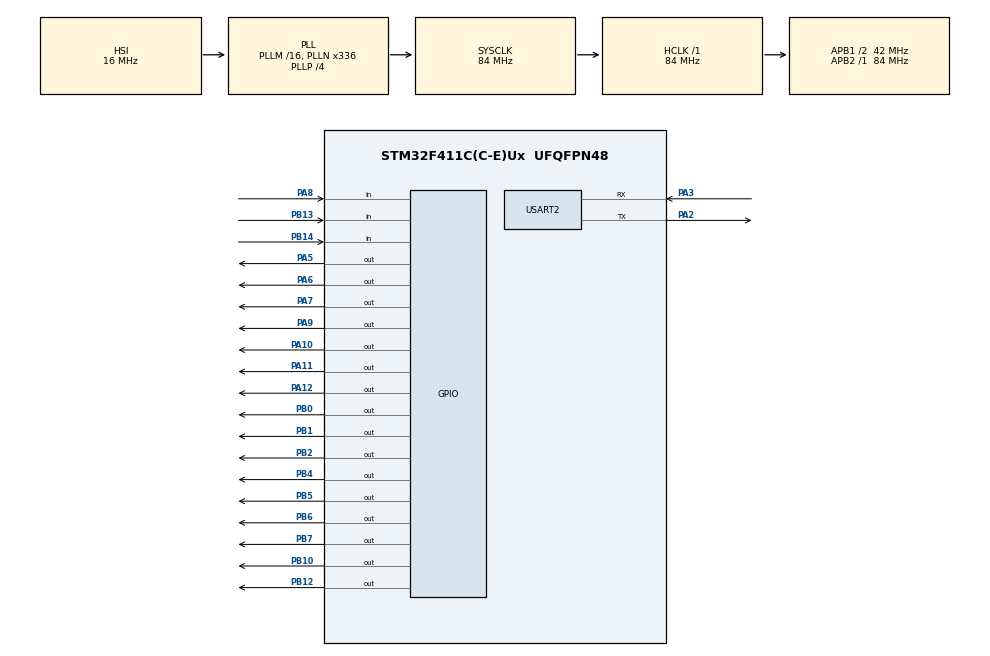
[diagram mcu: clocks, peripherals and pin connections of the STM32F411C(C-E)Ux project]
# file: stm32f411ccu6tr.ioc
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Mcu.Family=STM32F4
Mcu.Name=STM32F411C(C-E)Ux
Mcu.Package=UFQFPN48
NVIC.PriorityGroup=NVIC_PRIORITYGROUP_4
PA10.PinState=GPIO_PIN_RESET
PA10.Signal=GPIO_Output
PA11.PinState=GPIO_PIN_RESET
PA11.Signal=GPIO_Output
PA12.PinState=GPIO_PIN_RESET
PA12.Signal=GPIO_Output
PA13.Mode=Serial_Wire
PA13.Signal=SYS_JTMS-SWDIO
PA14.Mode=Serial_Wire
PA14.Signal=SYS_JTCK-SWCLK
PA2.Mode=Asynchronous
PA2.Signal=USART2_TX
PA3.Mode=Asynchronous
PA3.Signal=USART2_RX
PA5.PinState=GPIO_PIN_RESET
PA5.Signal=GPIO_Output
PA6.PinState=GPIO_PIN_RESET
PA6.Signal=GPIO_Output
PA7.PinState=GPIO_PIN_RESET
PA7.Signal=GPIO_Output
PA8.GPIO_Mode=GPIO_MODE_INPUT
PA8.Signal=GPIO_Input
PA9.GPIO_Speed=GPIO_SPEED_FREQ_LOW
PA9.PinState=GPIO_PIN_RESET
PA9.Signal=GPIO_Output
PB0.PinState=GPIO_PIN_RESET
PB0.Signal=GPIO_Output
PB1.PinState=GPIO_PIN_RESET
PB1.Signal=GPIO_Output
PB10.PinState=GPIO_PIN_RESET
PB10.Signal=GPIO_Output
PB12.PinState=GPIO_PIN_RESET
PB12.Signal=GPIO_Output
PB13.GPIO_Mode=GPIO_MODE_INPUT
PB13.Signal=GPIO_Input
PB14.GPIO_Mode=GPIO_MODE_INPUT
PB14.Signal=GPIO_Input
PB2.PinState=GPIO_PIN_RESET
PB2.Signal=GPIO_Output
PB3.Signal=SYS_JTDO-SWO
PB4.PinState=GPIO_PIN_RESET
PB4.Signal=GPIO_Output
PB5.PinState=GPIO_PIN_RESET
PB5.Signal=GPIO_Output
PB6.PinState=GPIO_PIN_RESET
PB6.Signal=GPIO_Output
PB7.PinState=GPIO_PIN_RESET
PB7.Signal=GPIO_Output
PC14-OSC32_IN.Mode=LSE-External-Oscillator
PC14-OSC32_IN.Signal=RCC_OSC32_IN
PC15-OSC32_OUT.Mode=LSE-External-Oscillator
PC15-OSC32_OUT.Signal=RCC_OSC32_OUT
ProjectManager.HeapSize=0x200
ProjectManager.StackSize=0x400
ProjectManager.TargetToolchain=STM32CubeIDE
RCC.48MHZClocksFreq_Value=84000000
RCC.AHBFreq_Value=84000000
RCC.APB1CLKDivider=RCC_HCLK_DIV2
RCC.APB1Freq_Value=42000000
RCC.APB1TimFreq_Value=84000000
RCC.APB2Freq_Value=84000000
RCC.APB2TimFreq_Value=84000000
RCC.CortexFreq_Value=84000000
RCC.HCLKFreq_Value=84000000
RCC.HSE_VALUE=25000000
RCC.HSI_VALUE=16000000
RCC.PLLN=336
RCC.PLLP=RCC_PLLP_DIV4
RCC.RCC_RTC_Clock_Source=RCC_RTCCLKSOURCE_LSE
RCC.RCC_RTC_Clock_SourceVirtual=RCC_RTCCLKSOURCE_LSE
RCC.SYSCLKFreq_VALUE=84000000
RCC.SYSCLKSource=RCC_SYSCLKSOURCE_PLLCLK
RCC.VCOOutputFreq_Value=336000000
RTC.Format=RTC_FORMAT_BIN
RTC.Hours=11
RTC.Minutes=30
USART2.VirtualMode=VM_ASYNC
VP_RTC_VS_RTC_Activate.Mode=RTC_Enabled
VP_RTC_VS_RTC_Calendar.Mode=RTC_Calendar
board=custom

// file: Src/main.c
/* USER CODE BEGIN Header */
/**
  ******************************************************************************
  * @file           : main.c
  * @brief          : Main program body
  ******************************************************************************
  * @attention
  *
  * Copyright (c) 2023 STMicroelectronics.
  * All rights reserved.
  *
  * This software is licensed under terms that can be found in the LICENSE file
  * in the root directory of this software component.
  * If no LICENSE file comes with this software, it is provided AS-IS.
  *
  ******************************************************************************
  */
/* USER CODE END Header */
#include "main.h"

/* USER CODE BEGIN Includes */
#include "nixie.h"
/* USER CODE END Includes */

/* USER CODE BEGIN PD */
#define BUTTON_1_PORT GPIOB
#define BUTTON_1_PIN GPIO_PIN_13
#define BUTTON_2_PORT GPIOB
#define BUTTON_2_PIN GPIO_PIN_14
#define BUTTON_3_PORT GPIOA
#define BUTTON_3_PIN GPIO_PIN_8

/* USER CODE END PD */

RTC_HandleTypeDef hrtc;

UART_HandleTypeDef huart2;

/* USER CODE BEGIN PV */
RTC_TimeTypeDef RtcTime;
RTC_DateTypeDef RtcDate;
int8_t CompareMinutes = -1;
uint8_t CompareHours = 0;

Nixie_Pin pins[4][4] =
        {
                {   //Nixie A-D1
                        {GPIOB, GPIO_PIN_4}, //Schematic A1
                        {GPIOB, GPIO_PIN_5}, //Schematic B1
                        {GPIOB, GPIO_PIN_6}, //Schematic C1
                        {GPIOB, GPIO_PIN_7}  //Schematic D1
                },
                {   //Nixie A-D2
                        {GPIOA, GPIO_PIN_9},  //Schematic A2
                        {GPIOA, GPIO_PIN_10}, //Schematic B2
                        {GPIOA, GPIO_PIN_11}, //Schematic C2
                        {GPIOA, GPIO_PIN_12}  //Schematic D2
                },
                {   //Nixie A-D3
                        {GPIOA, GPIO_PIN_5},  //Schematic A3
                        {GPIOA, GPIO_PIN_6},  //Schematic B3
                        {GPIOA, GPIO_PIN_7},  //Schematic C3
                        {GPIOB, GPIO_PIN_0}   //Schematic D3
                },
                {   //Nixie A-D4
                        {GPIOB, GPIO_PIN_1},  //Schematic A4
                        {GPIOB, GPIO_PIN_2},  //Schematic B4
                        {GPIOB, GPIO_PIN_10}, //Schematic C4
                        {GPIOB, GPIO_PIN_12}  //Schematic D4
                }
        };

Nixie_IC Nixie1 = {
        .ports = pins[0],
        .value = 0
};
Nixie_IC Nixie2 = {
        .ports = pins[1],
        .value = 0
};
Nixie_IC Nixie3 = {
        .ports = pins[2],
        .value = 0
};
Nixie_IC Nixie4 = {
        .ports = pins[3],
        .value = 0
};

Nixie_Clock clock = { .tubes = {&Nixie1, &Nixie2, &Nixie3, &Nixie4} };

/* USER CODE END PV */

void SystemClock_Config(void);
static void MX_GPIO_Init(void);
static void MX_RTC_Init(void);
static void MX_USART2_UART_Init(void);

int main(void)
{

  /* MCU Configuration--------------------------------------------------------*/

  /* Reset of all peripherals, Initializes the Flash interface and the Systick. */
  HAL_Init();

  /* Configure the system clock */
  SystemClock_Config();

  /* Initialize all configured peripherals */
  MX_GPIO_Init();
  MX_RTC_Init();
  MX_USART2_UART_Init();

  /* Infinite loop */
  /* USER CODE BEGIN WHILE */
  while (1)
  {

      HAL_RTC_GetTime(&hrtc, &RtcTime, RTC_FORMAT_BIN);
      HAL_RTC_GetDate(&hrtc, &RtcDate, RTC_FORMAT_BIN); //need to read date for proper timekeeping
      if(CompareMinutes != RtcTime.Minutes)
      {
          CompareMinutes = (int8_t)RtcTime.Minutes;
          setNixieTime(&clock, &RtcTime);
      }
      if(CompareHours != RtcTime.Hours)
      {
          CompareHours = RtcTime.Hours;
          NixieShuffle(&clock);
      }

      if(HAL_GPIO_ReadPin(BUTTON_1_PORT, BUTTON_1_PIN)==GPIO_PIN_RESET){
            HAL_Delay(100);
            if(HAL_GPIO_ReadPin(BUTTON_1_PORT, BUTTON_1_PIN)==GPIO_PIN_RESET){
                RTC_TimeTypeDef adjTime = RtcTime;
                if(adjTime.Minutes==59){
                    adjTime.Minutes = 0;
                    adjTime.Hours = (adjTime.Hours+1)%24;
                }
                else adjTime.Minutes++;

                if (HAL_RTC_SetTime(&hrtc, &adjTime, RTC_FORMAT_BIN) != HAL_OK)
                 {
                      Error_Handler();
                 }

            }
      }

      if(HAL_GPIO_ReadPin(BUTTON_3_PORT, BUTTON_3_PIN)==GPIO_PIN_RESET){
          HAL_Delay(100);
          if(HAL_GPIO_ReadPin(BUTTON_3_PORT, BUTTON_3_PIN)==GPIO_PIN_RESET){
              RTC_TimeTypeDef adjTime = RtcTime;
              if(adjTime.Minutes==0){
                  adjTime.Minutes = 59;
                    adjTime.Hours = adjTime.Hours==0 ? 23 : adjTime.Hours-1;
              }
              else adjTime.Minutes--;

              if (HAL_RTC_SetTime(&hrtc, &adjTime, RTC_FORMAT_BIN) != HAL_OK)
              {
                  Error_Handler();
              }

          }
      }

    /* USER CODE END WHILE */

  }
}

void SystemClock_Config(void)
{
  RCC_OscInitTypeDef RCC_OscInitStruct = {0};
  RCC_ClkInitTypeDef RCC_ClkInitStruct = {0};

  /** Configure the main internal regulator output voltage
  */
  __HAL_RCC_PWR_CLK_ENABLE();
  __HAL_PWR_VOLTAGESCALING_CONFIG(PWR_REGULATOR_VOLTAGE_SCALE1);

  /** Initializes the RCC Oscillators according to the specified parameters
  * in the RCC_OscInitTypeDef structure.
  */
  RCC_OscInitStruct.OscillatorType = RCC_OSCILLATORTYPE_HSI|RCC_OSCILLATORTYPE_LSE;
  RCC_OscInitStruct.LSEState = RCC_LSE_ON;
  RCC_OscInitStruct.HSIState = RCC_HSI_ON;
  RCC_OscInitStruct.HSICalibrationValue = RCC_HSICALIBRATION_DEFAULT;
  RCC_OscInitStruct.PLL.PLLState = RCC_PLL_ON;
  RCC_OscInitStruct.PLL.PLLSource = RCC_PLLSOURCE_HSI;
  RCC_OscInitStruct.PLL.PLLM = 16;
  RCC_OscInitStruct.PLL.PLLN = 336;
  RCC_OscInitStruct.PLL.PLLP = RCC_PLLP_DIV4;
  RCC_OscInitStruct.PLL.PLLQ = 4;
  if (HAL_RCC_OscConfig(&RCC_OscInitStruct) != HAL_OK)
  {
    Error_Handler();
  }

  /** Initializes the CPU, AHB and APB buses clocks
  */
  RCC_ClkInitStruct.ClockType = RCC_CLOCKTYPE_HCLK|RCC_CLOCKTYPE_SYSCLK
                              |RCC_CLOCKTYPE_PCLK1|RCC_CLOCKTYPE_PCLK2;
  RCC_ClkInitStruct.SYSCLKSource = RCC_SYSCLKSOURCE_PLLCLK;
  RCC_ClkInitStruct.AHBCLKDivider = RCC_SYSCLK_DIV1;
  RCC_ClkInitStruct.APB1CLKDivider = RCC_HCLK_DIV2;
  RCC_ClkInitStruct.APB2CLKDivider = RCC_HCLK_DIV1;

  if (HAL_RCC_ClockConfig(&RCC_ClkInitStruct, FLASH_LATENCY_2) != HAL_OK)
  {
    Error_Handler();
  }
}

static void MX_RTC_Init(void)
{

  RTC_TimeTypeDef sTime = {0};
  RTC_DateTypeDef sDate = {0};

  /** Initialize RTC Only
  */
  hrtc.Instance = RTC;
  hrtc.Init.HourFormat = RTC_HOURFORMAT_24;
  hrtc.Init.AsynchPrediv = 127;
  hrtc.Init.SynchPrediv = 255;
  hrtc.Init.OutPut = RTC_OUTPUT_DISABLE;
  hrtc.Init.OutPutPolarity = RTC_OUTPUT_POLARITY_HIGH;
  hrtc.Init.OutPutType = RTC_OUTPUT_TYPE_OPENDRAIN;
  if (HAL_RTC_Init(&hrtc) != HAL_OK)
  {
    Error_Handler();
  }

  /* USER CODE BEGIN Check_RTC_BKUP */

    //HAL_RTC_GetTime(&hrtc, &RtcTime, RTC_FORMAT_BIN);
    //HAL_RTC_GetDate(&hrtc, &RtcDate, RTC_FORMAT_BIN);
    return;
  /* USER CODE END Check_RTC_BKUP */

  /** Initialize RTC and set the Time and Date
  */
  sTime.Hours = 11;
  sTime.Minutes = 30;
  sTime.Seconds = 0;
  sTime.DayLightSaving = RTC_DAYLIGHTSAVING_NONE;
  sTime.StoreOperation = RTC_STOREOPERATION_RESET;
  if (HAL_RTC_SetTime(&hrtc, &sTime, RTC_FORMAT_BIN) != HAL_OK)
  {
    Error_Handler();
  }
  sDate.WeekDay = RTC_WEEKDAY_MONDAY;
  sDate.Month = RTC_MONTH_JANUARY;
  sDate.Date = 1;
  sDate.Year = 0;

  if (HAL_RTC_SetDate(&hrtc, &sDate, RTC_FORMAT_BIN) != HAL_OK)
  {
    Error_Handler();
  }
  /* USER CODE BEGIN RTC_Init 2 */

  //  RTC_TimeTypeDef sTime = {0};
   // sTime.Hours = 10;
    //sTime.Minutes = 1;
    //sTime.Seconds = 0;
    //if (HAL_RTC_SetTime(&hrtc, &sTime, RTC_FORMAT_BIN) != HAL_OK)
   // {
  //      Error_Handler();
   // }
  /* USER CODE END RTC_Init 2 */

}

static void MX_USART2_UART_Init(void)
{

  huart2.Instance = USART2;
  huart2.Init.BaudRate = 115200;
  huart2.Init.WordLength = UART_WORDLENGTH_8B;
  huart2.Init.StopBits = UART_STOPBITS_1;
  huart2.Init.Parity = UART_PARITY_NONE;
  huart2.Init.Mode = UART_MODE_TX_RX;
  huart2.Init.HwFlowCtl = UART_HWCONTROL_NONE;
  huart2.Init.OverSampling = UART_OVERSAMPLING_16;
  if (HAL_UART_Init(&huart2) != HAL_OK)
  {
    Error_Handler();
  }

}

static void MX_GPIO_Init(void)
{
  GPIO_InitTypeDef GPIO_InitStruct = {0};

  /* GPIO Ports Clock Enable */
  __HAL_RCC_GPIOC_CLK_ENABLE();
  __HAL_RCC_GPIOA_CLK_ENABLE();
  __HAL_RCC_GPIOB_CLK_ENABLE();

  /*Configure GPIO pin Output Level */
  HAL_GPIO_WritePin(GPIOA, GPIO_PIN_5|GPIO_PIN_6|GPIO_PIN_7|GPIO_PIN_9
                          |GPIO_PIN_10|GPIO_PIN_11|GPIO_PIN_12, GPIO_PIN_RESET);

  /*Configure GPIO pin Output Level */
  HAL_GPIO_WritePin(GPIOB, GPIO_PIN_0|GPIO_PIN_1|GPIO_PIN_2|GPIO_PIN_10
                          |GPIO_PIN_12|GPIO_PIN_4|GPIO_PIN_5|GPIO_PIN_6
                          |GPIO_PIN_7, GPIO_PIN_RESET);

  /*Configure GPIO pins : PA5 PA6 PA7 PA9
                           PA10 PA11 PA12 */
  GPIO_InitStruct.Pin = GPIO_PIN_5|GPIO_PIN_6|GPIO_PIN_7|GPIO_PIN_9
                          |GPIO_PIN_10|GPIO_PIN_11|GPIO_PIN_12;
  GPIO_InitStruct.Mode = GPIO_MODE_OUTPUT_PP;
  GPIO_InitStruct.Pull = GPIO_NOPULL;
  GPIO_InitStruct.Speed = GPIO_SPEED_FREQ_LOW;
  HAL_GPIO_Init(GPIOA, &GPIO_InitStruct);

  /*Configure GPIO pins : PB0 PB1 PB2 PB10
                           PB12 PB4 PB5 PB6
                           PB7 */
  GPIO_InitStruct.Pin = GPIO_PIN_0|GPIO_PIN_1|GPIO_PIN_2|GPIO_PIN_10
                          |GPIO_PIN_12|GPIO_PIN_4|GPIO_PIN_5|GPIO_PIN_6
                          |GPIO_PIN_7;
  GPIO_InitStruct.Mode = GPIO_MODE_OUTPUT_PP;
  GPIO_InitStruct.Pull = GPIO_NOPULL;
  GPIO_InitStruct.Speed = GPIO_SPEED_FREQ_LOW;
  HAL_GPIO_Init(GPIOB, &GPIO_InitStruct);

  /*Configure GPIO pins : PB13 PB14 */
  GPIO_InitStruct.Pin = GPIO_PIN_13|GPIO_PIN_14;
  GPIO_InitStruct.Mode = GPIO_MODE_INPUT;
  GPIO_InitStruct.Pull = GPIO_NOPULL;
  HAL_GPIO_Init(GPIOB, &GPIO_InitStruct);

  /*Configure GPIO pin : PA8 */
  GPIO_InitStruct.Pin = GPIO_PIN_8;
  GPIO_InitStruct.Mode = GPIO_MODE_INPUT;
  GPIO_InitStruct.Pull = GPIO_NOPULL;
  HAL_GPIO_Init(GPIOA, &GPIO_InitStruct);

}

void Error_Handler(void)
{
  __disable_irq();
  while (1)
  {
  }
}
